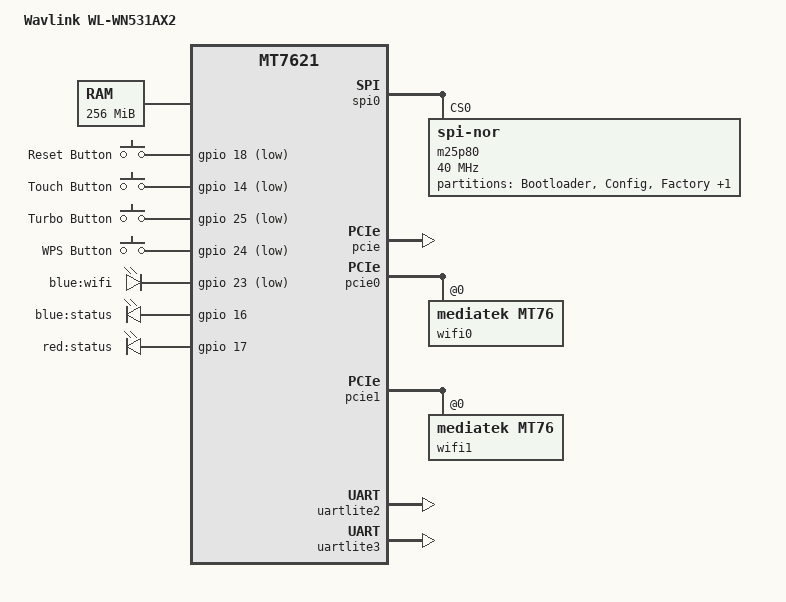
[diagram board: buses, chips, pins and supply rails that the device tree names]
// SPDX-License-Identifier: GPL-2.0-or-later OR MIT

#include "mt7621.dtsi"

#include <dt-bindings/gpio/gpio.h>
#include <dt-bindings/input/input.h>

/ {
	compatible = "wavlink,wl-wn531ax2", "mediatek,mt7621-soc";
	model = "Wavlink WL-WN531AX2";
	
	aliases {
		led-boot = &led_status_red;
		led-failsafe = &led_status_red;
		led-running = &led_status_blue;
		led-upgrade = &led_status_red;
		spi32766 = &spi0;
	};
	
	chosen {
		bootargs = "console=ttyS0,115200";
	};
	
	memory@0 {
		device_type = "memory";
		reg = <0x0 0x10000000>;
	};
	
	keys {
		compatible = "gpio-keys";

		reset {
			label = "Reset Button";
			gpios = <&gpio 18 GPIO_ACTIVE_LOW>;
			linux,code = <KEY_RESTART>;
		};

		touch { /* RH6015C touch sensor -> GPIO 14 */
			label = "Touch Button";
			gpios = <&gpio 14 GPIO_ACTIVE_LOW>;
			linux,code = <BTN_0>;
		};

		turbo {
			label = "Turbo Button";
			gpios = <&gpio 25 GPIO_ACTIVE_LOW>;
			linux,code = <BTN_1>;
		};

		wps {
			label = "WPS Button";
			gpios = <&gpio 24 GPIO_ACTIVE_LOW>;
			linux,code = <KEY_WPS_BUTTON>;
		};
	};

	leds {
		compatible = "gpio-leds";

		wifi {
			label = "blue:wifi";
			gpios = <&gpio 23 GPIO_ACTIVE_LOW>;
			linux,default-trigger = "phy0tpt";
		};

		led_status_blue: led_status_blue {
			label = "blue:status";
			gpios = <&gpio 16 GPIO_ACTIVE_HIGH>;
		};

		led_status_red: led_status_red {
			label = "red:status";
			gpios = <&gpio 17 GPIO_ACTIVE_HIGH>;
		};
	};
};

//&i2c {
//	status = "okay";
//};

&spi0 {
	status = "okay";

	m25p80@0 {
		compatible = "jedec,spi-nor";
		reg = <0>;
		//compatible = "en25q64";
		//linux,modalias = "m25p80", "en25q64", "gd25q128";
		spi-max-frequency = <40000000>;

		partitions {
			#address-cells = <1>;
			#size-cells = <1>;

			partition@0 {
				label = "Bootloader";
				reg = <0x0 0x30000>;
				//read-only;
			};

			partition@30000 {
				label = "Config";
				reg = <0x30000 0x10000>;
				//read-only;
			};

			factory: partition@50000 {
				label = "Factory";
				reg = <0x50000 0x40000>;
				//read-only;
			};

			partition@90000 {
				#compatible = "denx,uimage";
				label = "firmware";
				reg = <0x90000 0xe00000>;
			};
		};
	};
};


&pcie {
	status = "okay";
};

&pcie0 {
	wifi0: mt76@0,0 {
		compatible = "mediatek,mt76";
		reg = <0x0000 0 0 0 0>;
		mediatek,mtd-eeprom = <&factory 0x0>;
	};
};

&pcie1 {
	wifi1: mt76@0,0 {
		compatible = "mediatek,mt76";
		reg = <0x0000 0 0 0 0>;
		mediatek,mtd-eeprom = <&factory 0x8000>;
	};
};

&ethernet {
	pinctrl-0 = <&mdio_pins>, <&rgmii1_pins>;
};

&gmac0 {
	nvmem-cells = <&macaddr_factory_e000>;
	nvmem-cell-names = "mac-address";
};

&switch0 {
	ports {
		port0: port@0 {
			status = "okay";
		};

		port1: port@1 {
			status = "okay";
		};

		port2: port@2 {
			status = "okay";
		};

		port3: port@3 {
			status = "okay";
		};

		port@4 {
			status = "okay";
			label = "wan";
			nvmem-cells = <&macaddr_factory_e006>;
			nvmem-cell-names = "mac-address";
		};
	};
};

//&state_default {
//	gpio {
//		groups = "rgmii2", "jtag", "wdt";
//		function = "gpio";
//	};
//};

&pinctrl {
        state_default: pinctrl0 {
                gpio {
                //      ralink,group = "jtag", "uart2", "wdt";
                        group = "jtag","wdt";
                        function = "gpio";
                };
        };
};

&uartlite2 {
	status = "okay";
};

&uartlite3 {
	status = "okay";
};

&factory {
	compatible = "nvmem-cells";
	#address-cells = <1>;
	#size-cells = <1>;

	macaddr_factory_e000: macaddr@e000 {
		reg = <0xe000 0x6>;
	};

	macaddr_factory_e006: macaddr@e006 {
		reg = <0xe006 0x6>;
	};
};


&port0{
	label = "lan1";
};

&port1{
	label = "lan2";
};

&port2{
	label = "lan3";
};

&port3{
	label = "lan4";
};
